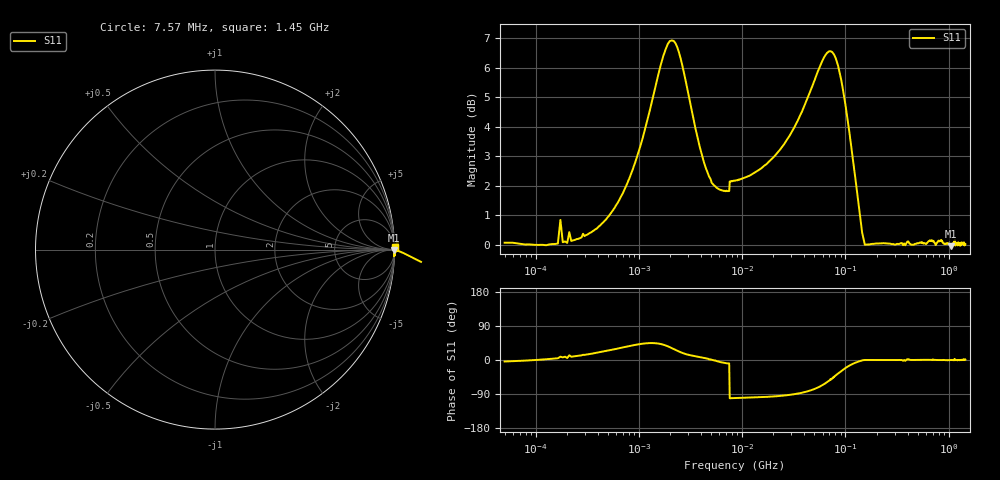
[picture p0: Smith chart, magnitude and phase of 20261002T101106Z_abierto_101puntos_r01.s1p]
! piloto_saltos / abierto_101puntos / r01
# HZ S RI R 50
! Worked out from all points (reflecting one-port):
!   501 points, 50 kHz to 1.45 GHz, reference 50 ohm
!   lowest |S11| = 0.0 dB at 1.054 GHz (marker M1), VSWR 414.73, Z = 1.63e+04 - j8.51e+03 ohm
!   phase of S11 starts at -4 deg and turns +5 deg over the sweep
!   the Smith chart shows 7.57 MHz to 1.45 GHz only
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50000  1.006 -0.0698
183000  1.003 0.1237
354000  1.008 0.3072
658000  1.023 0.6293
1180000  1.151 1.116
1630000  1.499 1.356
1990000  1.841 1.233
2440000  1.96 0.8083
3340000  1.616 0.3156
4870000  1.298 0.043
7300000  1.218 -0.1934
7750000  -0.2415 -1.26
8560000  -0.2341 -1.264
1.81e7  -0.1679 -1.373
3.16e7  -0.0107 -1.576
4.78e7  0.3668 -1.823
5.68e7  0.6976 -1.885
6.49e7  1.046 -1.827
7.39e7  1.367 -1.626
8.65e7  1.653 -1.099
9.82e7  1.626 -0.6745
1e8  1.611 -0.6205
1.18e8  1.377 -0.2438
1.36e8  1.148 -0.0683
1.63e8  1.002 6.7e-05
4.06e8  1.013 0.0375
1.054e9  0.9952 -0.00251
1.45e9  1.003 0.0133
